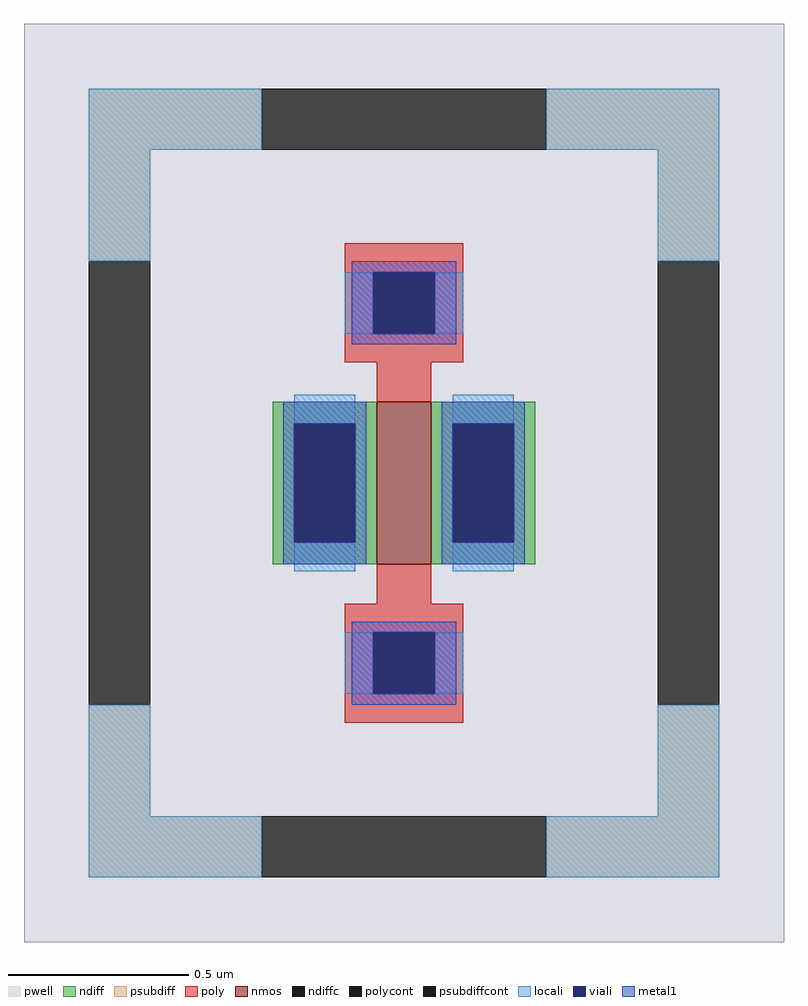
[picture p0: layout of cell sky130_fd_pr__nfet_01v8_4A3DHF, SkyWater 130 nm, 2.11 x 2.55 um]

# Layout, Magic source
magic
tech sky130A
magscale 1 2
<< pwell >>
rect -211 -255 211 255
<< nmos >>
rect -15 -45 15 45
<< ndiff >>
rect -73 33 -15 45
rect -73 -33 -61 33
rect -27 -33 -15 33
rect -73 -45 -15 -33
rect 15 33 73 45
rect 15 -33 27 33
rect 61 -33 73 33
rect 15 -45 73 -33
<< ndiffc >>
rect -61 -33 -27 33
rect 27 -33 61 33
<< psubdiff >>
rect -175 185 -79 219
rect 79 185 175 219
rect -175 123 -141 185
rect 141 123 175 185
rect -175 -185 -141 -123
rect 141 -185 175 -123
rect -175 -219 -79 -185
rect 79 -219 175 -185
<< psubdiffcont >>
rect -79 185 79 219
rect -175 -123 -141 123
rect 141 -123 175 123
rect -79 -219 79 -185
<< poly >>
rect -33 117 33 133
rect -33 83 -17 117
rect 17 83 33 117
rect -33 67 33 83
rect -15 45 15 67
rect -15 -67 15 -45
rect -33 -83 33 -67
rect -33 -117 -17 -83
rect 17 -117 33 -83
rect -33 -133 33 -117
<< polycont >>
rect -17 83 17 117
rect -17 -117 17 -83
<< locali >>
rect -175 185 -79 219
rect 79 185 175 219
rect -175 123 -141 185
rect 141 123 175 185
rect -33 83 -17 117
rect 17 83 33 117
rect -61 33 -27 49
rect -61 -49 -27 -33
rect 27 33 61 49
rect 27 -49 61 -33
rect -33 -117 -17 -83
rect 17 -117 33 -83
rect -175 -185 -141 -123
rect 141 -185 175 -123
rect -175 -219 -79 -185
rect 79 -219 175 -185
<< viali >>
rect -17 83 17 117
rect -61 -33 -27 33
rect 27 -33 61 33
rect -17 -117 17 -83
<< metal1 >>
rect -29 117 29 123
rect -29 83 -17 117
rect 17 83 29 117
rect -29 77 29 83
rect -67 33 -21 45
rect -67 -33 -61 33
rect -27 -33 -21 33
rect -67 -45 -21 -33
rect 21 33 67 45
rect 21 -33 27 33
rect 61 -33 67 33
rect 21 -45 67 -33
rect -29 -83 29 -77
rect -29 -117 -17 -83
rect 17 -117 29 -83
rect -29 -123 29 -117
<< properties >>
string FIXED_BBOX -158 -202 158 202
string gencell sky130_fd_pr__nfet_01v8
string library sky130
string parameters w 0.45 l 0.15 m 1 nf 1 diffcov 100 polycov 100 guard 1 glc 1 grc 1 gtc 1 gbc 1 tbcov 100 rlcov 100 topc 1 botc 1 poverlap 0 doverlap 1 lmin 0.15 wmin 0.42 class mosfet compatible {sky130_fd_pr__nfet_01v8 sky130_fd_pr__nfet_01v8_lvt  sky130_fd_bs_flash__special_sonosfet_star  sky130_fd_pr__nfet_g5v0d10v5 sky130_fd_pr__nfet_05v0_nvt  sky130_fd_pr__nfet_03v3_nvt} full_metal 1 viasrc 100 viadrn 100 viagate 100 viagb 0 viagr 0 viagl 0 viagt 0 ad {int((nf+1)/2) * W/nf * 0.29} as {int((nf+2)/2) * W/nf * 0.29} pd {2*int((nf+1)/2) * (W/nf + 0.29)} ps {2*int((nf+2)/2) * (W/nf + 0.29)} nrd {0.29 / W} nrs {0.29 / W} sa 0 sb 0 sd 0 mult 1
string sky130_fd_pr__nfet_01v8_4A3DHF gencell
<< end >>
